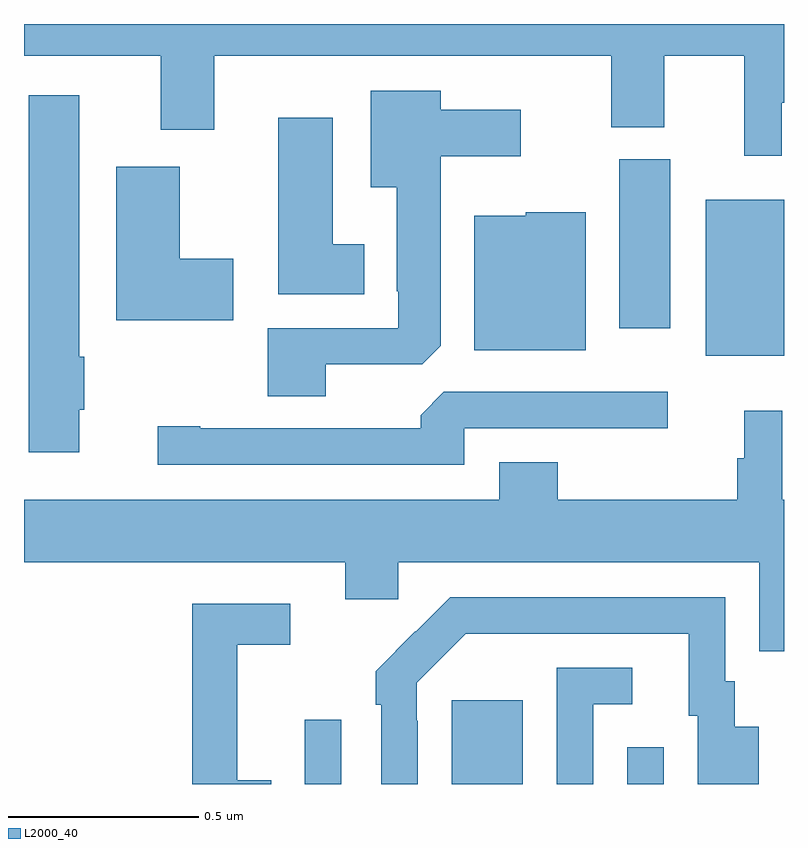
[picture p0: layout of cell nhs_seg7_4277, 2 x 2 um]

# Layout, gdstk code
import gdstk
lib = gdstk.Library(unit=1e-6, precision=1e-09)
def R(c, l, rs):  # rectangles x0, y0, x1, y1
    for r in rs: c.add(gdstk.rectangle(r[:2], r[2:], *l))
def P(c, l, *ps):  # polygons
    for p in ps: c.add(gdstk.Polygon(p, *l))
L2000_40 = (2000, 40)

nhs_seg7_4277 = lib.new_cell('nhs_seg7_4277')
R(nhs_seg7_4277, L2000_40, [(170.739,1032,170.835,1032.169), (171.125,1032,171.313,1032.22), (171.588,1032,171.684,1032.097), (171.794,1033.127,172,1033.537), (171.566,1033.2,171.7,1033.644)])
P(nhs_seg7_4277, L2000_40, [(171.994,1033.793),(172,1033.793),(172,1034),(170,1034),(170,1033.916),(170.36,1033.916),(170.36,1033.722),(170.5,1033.722),(170.5,1033.916),(171.545,1033.916),(171.545,1033.728),(171.685,1033.728),(171.685,1033.916),(171.896,1033.916),(171.896,1033.653),(171.994,1033.653)],
  [(170.794,1033.104),(171.048,1033.104),(171.097,1033.153),(171.097,1033.652),(171.307,1033.652),(171.307,1033.774),(171.097,1033.774),(171.097,1033.825),(170.912,1033.825),(170.912,1033.571),(170.981,1033.571),(170.981,1033.297),(170.985,1033.297),(170.985,1033.2),(170.642,1033.2),(170.642,1033.021),(170.794,1033.021)],
  [(170.146,1032.985),(170.159,1032.985),(170.159,1033.124),(170.146,1033.124),(170.146,1033.813),(170.012,1033.813),(170.012,1032.873),(170.146,1032.873)],
  [(170.896,1033.42),(170.812,1033.42),(170.812,1033.753),(170.669,1033.753),(170.669,1033.289),(170.896,1033.289)],
  [(170.551,1033.382),(170.41,1033.382),(170.41,1033.624),(170.243,1033.624),(170.243,1033.22),(170.551,1033.22)],
  [(171.478,1033.504),(171.321,1033.504),(171.321,1033.495),(171.185,1033.495),(171.185,1033.142),(171.478,1033.142)],
  [(171.159,1032.936),(171.694,1032.936),(171.694,1033.032),(171.105,1033.032),(171.044,1032.97),(171.044,1032.936),(170.464,1032.936),(170.464,1032.941),(170.352,1032.941),(170.352,1032.84),(171.159,1032.84)],
  [(171.935,1032.349),(172,1032.349),(172,1032.748),(171.995,1032.748),(171.995,1032.982),(171.896,1032.982),(171.896,1032.857),(171.877,1032.857),(171.877,1032.748),(171.404,1032.748),(171.404,1032.847),(171.251,1032.847),(171.251,1032.748),(170,1032.748),(170,1032.584),(170.846,1032.584),(170.846,1032.486),(170.985,1032.486),(170.985,1032.584),(171.935,1032.584)],
  [(171.036,1032.167),(171.033,1032.167),(171.033,1032.267),(171.162,1032.396),(171.749,1032.396),(171.749,1032.18),(171.773,1032.18),(171.773,1032),(171.934,1032),(171.934,1032.151),(171.871,1032.151),(171.871,1032.27),(171.846,1032.27),(171.846,1032.492),(171.122,1032.492),(171.031,1032.401),(171.03,1032.402),(170.925,1032.297),(170.925,1032.209),(170.94,1032.209),(170.94,1032),(171.036,1032)],
  [(170.65,1032.01),(170.561,1032.01),(170.561,1032.366),(170.701,1032.366),(170.701,1032.474),(170.443,1032.474),(170.443,1032),(170.65,1032)],
  [(171.498,1032.21),(171.601,1032.21),(171.601,1032.306),(171.402,1032.306),(171.402,1032),(171.498,1032)])

lib.write_gds('nhs_seg7_4277.gds')
